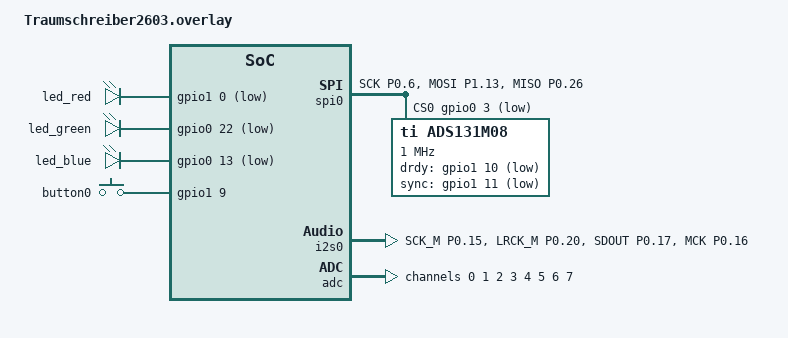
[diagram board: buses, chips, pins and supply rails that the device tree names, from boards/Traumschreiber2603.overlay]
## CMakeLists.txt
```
cmake_minimum_required(VERSION 3.20.0)

# Make custom boards discoverable (workspace-level boards/ folder)
list(APPEND BOARD_ROOT
    ${CMAKE_CURRENT_SOURCE_DIR}/..
)

# Use default overlay unless caller provides a different one
if(NOT DTC_OVERLAY_FILE)
    set(DTC_OVERLAY_FILE "${CMAKE_CURRENT_SOURCE_DIR}/boards/Traumschreiber2603.overlay")
endif()

find_package(Zephyr REQUIRED HINTS $ENV{ZEPHYR_BASE})

project(traumschreiber2603)

# Add include directories
target_include_directories(app PRIVATE 
    include 
    include/hw_abstraction
    include/drivers
    include/subsystems
    src 
    src/drivers 
    src/subsystems 
    src/hw_abstraction 
    src/ble
)

# Add source files
target_sources(app PRIVATE 
    src/main.c
    src/debug_ads131_osr.c
    src/hw_abstraction/rgb_led.c
    src/hw_abstraction/button.c
    src/subsystems/stimulator.c
    src/subsystems/data_logger.c
    src/subsystems/audio_player.c
    src/subsystems/battery_monitor.c
    src/subsystems/wav_writer.c
    src/drivers/i2s_out.c
    src/drivers/sd_card_manager.c
    src/drivers/ads131m08_ti.c
    src/drivers/nordic_adc.c
    src/ble/ble_manager.c
    src/ble/lbs_service.c
    src/ble/bas_service.c
    src/ble/ads_service.c
    src/ble/ain_service.c
    src/subsystems/system_config.c
    src/subsystems/noise_test.c
    src/subsystems/led_animation.c
    src/subsystems/charge_guard.c
    src/selftest.c
)

# Optional hardware self-test image (compares the TS2607-changed parts vs TS2603).
# Enable with:  west build ... -- -DTS_HW_SELFTEST=ON
# HW-Selbsttest-Build. Der Sysbuild-Image-Var (-DFirmware_TS_HW_SELFTEST=ON) greift
# in diesem App-CMake NICHT zuverlaessig -> zuverlaessiger Weg ist die ENV-Variable:
#   TS_HW_SELFTEST=1 west build --pristine -b Traumschreiber2603/nrf52840 -- \
#     -DBOARD_ROOT="$PWD/.." -DDTC_OVERLAY_FILE=boards/Traumschreiber2603.overlay
# Produktions-Builds (ohne die ENV-Var) enthalten den Testcode NICHT.
if(TS_HW_SELFTEST OR DEFINED ENV{TS_HW_SELFTEST})
    target_compile_definitions(app PRIVATE TS_HW_SELFTEST)
    message(STATUS "TS_HW_SELFTEST enabled: building hardware self-test firmware")
endif()
```

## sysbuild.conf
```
SB_CONFIG_BOOTLOADER_MCUBOOT=y

# Signing key (ECDSA P-256) for bootloader and app. Put your key into keys/signing_key.pem,
# see keys/README.md. This repository contains no keys.
SB_CONFIG_BOOT_SIGNATURE_TYPE_ECDSA_P256=y
SB_CONFIG_BOOT_SIGNATURE_KEY_FILE="${APPLICATION_CONFIG_DIR}/../keys/signing_key.pem"
```

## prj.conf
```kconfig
# Traumschreiber2509 Zephyr Configuration
# Professional firmware configuration for nRF52840-based biometric device

# ========================================================================
# POWER MANAGEMENT
# ========================================================================
CONFIG_PM=y
CONFIG_PM_DEVICE=y
# System OFF when USB is plugged in (charge_guard, fw 0.0.95)
CONFIG_POWEROFF=y

# ========================================================================
# BLUETOOTH & BLE SUPPORT 
# ========================================================================
CONFIG_BT=y
CONFIG_BT_PERIPHERAL=y
CONFIG_BT_CENTRAL=n
CONFIG_BT_DEVICE_NAME="Traumschreiber"
CONFIG_BT_DEVICE_APPEARANCE=0
CONFIG_BT_MAX_CONN=1
CONFIG_BT_MAX_PAIRED=1
# CONFIG_BT_CTLR_ADVANCED_FEATURES=y
# CONFIG_BT_CTLR_CONN_RSSI=y
# CONFIG_BT_CTLR_TX_PWR_DYNAMIC_CONTROL=y
# CONFIG_BT_CTLR_LE_POWER_CONTROL=y
# TX power: fixed at +4 dBm at build time, not user-settable (no config.txt key).
CONFIG_BT_CTLR_TX_PWR_PLUS_4=y
# CONFIG_BT_CTLR_TX_PWR_MINUS_8=y  # minimum power — far too weak with head/pillow

# GATT Services - act as server only; keep GATT enabled for server
# Note: CONFIG_BT_GATT is not a Kconfig symbol in this Zephyr/NCS version; avoid setting it directly.
CONFIG_BT_GATT_SERVICE_CHANGED=y
# Server only (do not enable GATT client in this build)
# CONFIG_BT_GATT_CLIENT is intentionally not set

# ========================================================================
# HIGH-SPEED BLE STREAMING (based on Nordic Throughput sample)
# For 250-500 Hz ADS131M08 data streaming
# ========================================================================

# MTU & Buffer Configuration (Increased for high-rate streaming)
CONFIG_BT_L2CAP_TX_MTU=498
CONFIG_BT_BUF_ACL_RX_SIZE=502
CONFIG_BT_BUF_ACL_TX_SIZE=252
# Buffer pool sizes raised 12 → 20: at 250Hz × 10 samples/notif we produce
# ~25 notifs/sec. With the previous 12-deep pool, the work handler filled it
# in 4 invocations (each capped at 3 notifs) and the LL drained at ~100
# notifs/s (50ms CI), causing repeated -ENOMEM bursts that dropped 20-40
# samples/sec. Larger pool absorbs the bursts; live BLE air rate is unchanged,
# just more host-side headroom. RAM-bound at ~94% so 20 (not 24) is what fits.
CONFIG_BT_BUF_ACL_TX_COUNT=20
CONFIG_BT_CONN_TX_MAX=20

# ATT Configuration (More buffers for notification pipelining)
CONFIG_BT_ATT_PREPARE_COUNT=2
CONFIG_BT_ATT_TX_COUNT=20

# Controller Configuration (Data Length Extension and 2M PHY)
CONFIG_BT_CTLR_DATA_LENGTH_MAX=251
CONFIG_BT_CTLR_PHY_2M=y
CONFIG_BT_CTLR_SDC_MAX_CONN_EVENT_LEN_DEFAULT=4000000

# BLE Features (Enable DLE and PHY update procedures)
CONFIG_BT_DATA_LEN_UPDATE=y
CONFIG_BT_USER_DATA_LEN_UPDATE=y
CONFIG_BT_PHY_UPDATE=y
CONFIG_BT_USER_PHY_UPDATE=y
CONFIG_BT_GAP_AUTO_UPDATE_CONN_PARAMS=n

# Event & Buffer counts (Must be greater than ACL TX count)
CONFIG_BT_BUF_EVT_RX_COUNT=24

# L2CAP Configuration - disable dynamic channels to save RAM (not needed for notify/write)
CONFIG_BT_L2CAP_DYNAMIC_CHANNEL=n

# ========================================================================
# ANALOG-TO-DIGITAL CONVERTER (SAADC)
# ========================================================================
CONFIG_ADC=y
CONFIG_NRFX_SAADC=y

# ========================================================================
# SPI SUPPORT (ADS131M08 + microSD)
# ========================================================================
CONFIG_SPI=y

# ========================================================================
# I2S SUPPORT (MAX98357A Audio Amplifier)
# ========================================================================
CONFIG_I2S=y
CONFIG_I2S_NRFX=y

# ========================================================================
# FILE SYSTEM & microSD SUPPORT 
# ========================================================================
CONFIG_DISK_ACCESS=y
CONFIG_FILE_SYSTEM=y
CONFIG_FAT_FILESYSTEM_ELM=y

CONFIG_DISK_DRIVER_SDMMC=y
# CONFIG_EXT2_DISK_STARTING_SECTOR=2082

# Enable f_expand() for EDF file pre-allocation (eliminates cluster-allocation FAT writes during recording)
CONFIG_FS_FATFS_EXTRA_NATIVE_API=y

# Max concurrently-open files. Pinned (was the implicit Zephyr default of 4) so
# the budget is explicit: the recording writer now keeps TWO files open (the
# BDF + its AD####.SNX sample-number index), the backfill reader opens one at a
# time (the .SNX to bisect, then the BDF), plus the occasional transient
# sd_health/CSV write — worst case exactly 4. A future NCS default change must
# not silently drop this below 4 or the critical BDF open could fail in the
# field. RAM is ~maxed (each FIL slab slot is ~0.5 KB), so do NOT raise to 5.
CONFIG_FS_FATFS_NUM_FILES=4

# Long filenames (LFN) — needed since fw 0.0.64: on the app's wall-time sync
# (control 0x40) the active recording is renamed to carry date+time, e.g.
# ADC/AD0007_20260703_2214.BDF. STACK mode keeps the (MAX_LFN+1)*2-byte LFN
# working buffer on the calling thread's stack (~98 B at MAX_LFN=48) — zero
# static RAM (BSS mode would cost ~100 B of the ~190 B that are left).
# MAX_LFN=48 also sizes fs_dirent name buffers (MAX_FILE_NAME follows it),
# bounding the extra readdir stack cost to +36 B per dirent.
CONFIG_FS_FATFS_LFN=y
CONFIG_FS_FATFS_LFN_MODE_STACK=y
CONFIG_FS_FATFS_MAX_LFN=48

# ========================================================================
# GPIO & PWM SUPPORT (RGB LED, Button)
# ========================================================================
CONFIG_GPIO=y
CONFIG_PWM=y

# ========================================================================
# THREADING & WORKQUEUES
# ========================================================================
CONFIG_MAIN_THREAD_PRIORITY=7
CONFIG_SYSTEM_WORKQUEUE_STACK_SIZE=1536

# Thread priorities for data acquisition
CONFIG_NUM_PREEMPT_PRIORITIES=16

# ========================================================================
# MEMORY MANAGEMENT
# ========================================================================
#CONFIG_HEAP_MEM_POOL_SIZE=8192
# Reduce heap to save RAM; adjust if runtime allocation fails
CONFIG_HEAP_MEM_POOL_SIZE=4096
CONFIG_MAIN_STACK_SIZE=3072

# ========================================================================
# LOGGING & DEBUGGING
# ========================================================================
CONFIG_LOG=y
CONFIG_LOG_DEFAULT_LEVEL=3
CONFIG_LOG_BACKEND_RTT=y
CONFIG_USE_SEGGER_RTT=y
CONFIG_RTT_CONSOLE=y
CONFIG_UART_CONSOLE=n
CONFIG_LOG_MODE_DEFERRED=y
CONFIG_LOG_PROCESS_THREAD_STACK_SIZE=1536
CONFIG_LOG_BUFFER_SIZE=1536
CONFIG_THREAD_NAME=n
CONFIG_THREAD_STACK_INFO=n
CONFIG_INIT_STACKS=n

# Stack overflow detection
CONFIG_MPU_STACK_GUARD=y

# RTT configuration - uses J-Link for output
CONFIG_CONSOLE=y
CONFIG_PRINTK=y
CONFIG_SERIAL=n
CONFIG_SEGGER_RTT_BUFFER_SIZE_UP=4096

# Reduce BLE debug verbosity
CONFIG_BT_LOG_LEVEL_DBG=n

# ========================================================================
# SETTINGS (for BLE bonding, configuration persistence)
# ========================================================================
# Temporarily disable NVS settings for simple LED demo
# CONFIG_SETTINGS=y
# CONFIG_SETTINGS_NVS=y
# CONFIG_NVS=y
# CONFIG_FLASH=y
# CONFIG_FLASH_PAGE_LAYOUT=y
# CONFIG_FLASH_MAP=y
# CONFIG_MPU_ALLOW_FLASH_WRITE=y

# ========================================================================
# NETWORKING STACK (minimal for BLE)
# ========================================================================
CONFIG_NETWORKING=n

# ========================================================================
# SHELL SUPPORT (for debugging & testing) - Disabled to avoid RTT conflicts
# ========================================================================
CONFIG_SHELL=n
CONFIG_SHELL_BACKEND_RTT=n
CONFIG_SHELL_BACKEND_SERIAL=n

# Device shell commands - disabled
CONFIG_DEVICE_SHELL=n
CONFIG_KERNEL_SHELL=n

# ========================================================================
# TIMING & CLOCK MANAGEMENT
# ========================================================================
CONFIG_SYS_CLOCK_TICKS_PER_SEC=1000

# Use the external 32.768 kHz crystal (LFXO) on E73 module for better accuracy & lower power
# NOTE: LFXO does not start on this E73-2G4M08S1C module (crystal likely not populated)
CONFIG_CLOCK_CONTROL_NRF_K32SRC_RC=y

# ========================================================================
# PRINTF & STRING FORMATTING
# ========================================================================
CONFIG_CBPRINTF_FP_SUPPORT=y
CONFIG_NEWLIB_LIBC=y
CONFIG_NEWLIB_LIBC_FLOAT_PRINTF=y

# ========================================================================
# SECURITY & CRYPTO
# ========================================================================
CONFIG_ENTROPY_GENERATOR=y

# ========================================================================
# WATCHDOG (optional, for production reliability)
# ========================================================================
# CONFIG_WATCHDOG=y

# ========================================================================
# FOTA / MCUboot / MCUmgr (BLE SMP)
# ========================================================================
CONFIG_BOOTLOADER_MCUBOOT=y

# Image management
CONFIG_IMG_MANAGER=y
CONFIG_MCUMGR=y
CONFIG_MCUMGR_GRP_IMG=y
CONFIG_MCUMGR_GRP_OS=y

# BLE transport for mcumgr SMP
CONFIG_MCUMGR_TRANSPORT_BT=y

# Flash mapping needed by image manager
CONFIG_FLASH=y
CONFIG_FLASH_MAP=y
CONFIG_FLASH_PAGE_LAYOUT=y
CONFIG_STREAM_FLASH=y

# CBOR codec used by mcumgr
CONFIG_ZCBOR=y

# Keep update path reliable with larger workqueue stack
CONFIG_SYSTEM_WORKQUEUE_STACK_SIZE=3072
```

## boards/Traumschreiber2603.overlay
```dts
/*
 * Traumschreiber2603 Device Tree Overlay
 * nRF52840-based biometric data acquisition hardware mapping for:
 * - ADS131M08 8-channel ADC (SPI)
 * - microSD card storage (SPI)
 * - MAX98357A I2S audio amplifier
 * - RGB LED (PWM)
 * - Button input
 * - SAADC for analog sensors (battery, microphone, light)
 */

#include <zephyr/dt-bindings/regulator/nrf5x.h>

/* Enable internal DC/DC converter (REG1: 3.3V → 1.3V core) for ~30-40% power savings */
&reg1 {
	regulator-initial-mode = <NRF5X_REG_MODE_DCDC>;
};

/* SPI1 is used by SD card in base DTS - do NOT disable */
&i2c1 {status = "disabled"; };

/* Enable SPI0 for ADS131M08 ADC with custom pin configuration */
&spi0 {
    compatible = "nordic,nrf-spim";
    status = "okay";
    pinctrl-0 = <&spi0_default>;
    pinctrl-1 = <&spi0_sleep>;
    pinctrl-names = "default", "sleep";
    cs-gpios = <&gpio0 3 GPIO_ACTIVE_LOW>;

    ads131m08: ads131m08@0 {
        compatible = "ti,ads131m08";
        #io-channel-cells = <1>;
        drdy-gpios = <&gpio1 10 GPIO_ACTIVE_LOW>;
        sync-gpios = <&gpio1 11 GPIO_ACTIVE_LOW>;
        reg = <0>;
        spi-max-frequency = <1000000>; /* 1MHz max for ADS131M08 */
        duplex = <0>;  /* Full duplex */
        frame-format = <0>; /* SPI frame format */
        label = "ADS131M08";
    };
};

/* I2S for MAX98357A audio amplifier */
&i2s0 {
    compatible = "nordic,nrf-i2s";
    status = "okay";
    pinctrl-0 = <&i2s0_default>;
    pinctrl-names = "default";
    clock-source = "PCLK32M";  /* nRF52840 only supports PCLK32M, not ACLK */
};

/* SAADC for analog inputs - All 8 channels (AI0-AI7) */
&adc {
    status = "okay";

    /* AIN0 - Analog Input 0 Brightness sensor */
    channel@0 {
        reg = <0>;
        zephyr,gain = "ADC_GAIN_1_6";
        // zephyr,reference = "ADC_REF_VDD_1_4";
        zephyr,reference = "ADC_REF_INTERNAL";
        zephyr,input-positive = <NRF_SAADC_AIN0>;
        // zephyr,input-negative = <NRF_SAADC_AIN7>;
        // zephyr,differential;
        // zephyr,vref-mv = <3000>;
        zephyr,resolution = <14>;
        zephyr,oversampling = <256>;
        zephyr,acquisition-time = <ADC_ACQ_TIME(ADC_ACQ_TIME_MICROSECONDS,40)>;
        status = "okay";
    };

    /* AIN1 - Analog Input 1 (not connected) */
    channel@1 {
        reg = <1>;
        zephyr,gain = "ADC_GAIN_1_6";
        zephyr,reference = "ADC_REF_INTERNAL";
        zephyr,acquisition-time = <ADC_ACQ_TIME_DEFAULT>;
        zephyr,input-positive = <NRF_SAADC_AIN1>;
        zephyr,resolution = <12>;
        status = "okay";
    };

    /* AIN2 - Analog Input 2 Connector Pin 9 */
    channel@2 {
        reg = <2>;
        zephyr,gain = "ADC_GAIN_1_6";
        zephyr,reference = "ADC_REF_INTERNAL";
        zephyr,acquisition-time = <ADC_ACQ_TIME_DEFAULT>;
        zephyr,input-positive = <NRF_SAADC_AIN2>;
        zephyr,resolution = <12>;
        status = "okay";
    };

    /* AIN3 - Analog Input 3 Microphone */
    channel@3 {
        reg = <3>;
        zephyr,gain = "ADC_GAIN_1_4";
        zephyr,reference = "ADC_REF_INTERNAL";
        zephyr,acquisition-time = <ADC_ACQ_TIME(ADC_ACQ_TIME_MICROSECONDS, 3)>;
        zephyr,input-positive = <NRF_SAADC_AIN3>;
        zephyr,resolution = <12>;
        status = "okay";
    };

    /* AIN4 - Analog Input 4 (Battery voltage monitoring) */
    channel@4 {
        reg = <4>;
        zephyr,gain = "ADC_GAIN_1_6";
        zephyr,reference = "ADC_REF_INTERNAL";
        zephyr,acquisition-time = <ADC_ACQ_TIME_DEFAULT>;
        zephyr,input-positive = <NRF_SAADC_AIN4>;
        zephyr,resolution = <12>;
        status = "okay";
    };

    /* AIN5 - Analog Input 5 USB Charging Detection */
    channel@5 {
        reg = <5>;
        zephyr,gain = "ADC_GAIN_1_6";
        zephyr,reference = "ADC_REF_INTERNAL";
        zephyr,acquisition-time = <ADC_ACQ_TIME_DEFAULT>;
        zephyr,input-positive = <NRF_SAADC_AIN5>;
        zephyr,resolution = <12>;
        status = "okay";
    };

    /* AIN6 - Analog Input 6 Connector Pin 8 */
    channel@6 {
        reg = <6>;
        zephyr,gain = "ADC_GAIN_1_6";
        zephyr,reference = "ADC_REF_INTERNAL";
        zephyr,acquisition-time = <ADC_ACQ_TIME_DEFAULT>;
        zephyr,input-positive = <NRF_SAADC_AIN6>;
        zephyr,resolution = <12>;
        status = "okay";
    };

    /* AIN7 - Analog Input 7 COnnector Pin 6 */
    channel@7 {
        reg = <7>;
        zephyr,gain = "ADC_GAIN_1_6";
        zephyr,reference = "ADC_REF_INTERNAL";
        zephyr,acquisition-time = <ADC_ACQ_TIME_DEFAULT>;
        zephyr,input-positive = <NRF_SAADC_AIN7>;
        zephyr,resolution = <12>;
        status = "okay";
    };
};

/* Pin control configurations */
&pinctrl {
    /* SPI0 pins for ADS131M08 - using our custom pin mapping */
    spi0_default: spi0_default {
        group1 {
            psels = <NRF_PSEL(SPIM_SCK, 0, 6)>, /* P0.06 - SCLK */
                    <NRF_PSEL(SPIM_MOSI, 1, 13)>, /* P1.13 - DIN */
                    <NRF_PSEL(SPIM_MISO, 0, 26)>; /* P0.26 - DOUT */
        };
    };

    spi0_sleep: spi0_sleep {
        group1 {
            psels = <NRF_PSEL(SPIM_SCK, 0, 6)>,
                    <NRF_PSEL(SPIM_MOSI, 1, 13)>,
                    <NRF_PSEL(SPIM_MISO, 0, 26)>;
            low-power-enable;
        };
    };

    /* I2S pins for MAX98357A */
    i2s0_default: i2s0_default {
        group1 {
            psels = <NRF_PSEL(I2S_SCK_M, 0, 15)>,
                    <NRF_PSEL(I2S_LRCK_M, 0, 20)>,
                    <NRF_PSEL(I2S_SDOUT, 0, 17)>,
                    <NRF_PSEL(I2S_MCK, 0, 16)>;
        };
    };
};

/* Override LED configurations for RGB LED on custom pins */
&led_red {
    gpios = <&gpio1 0 GPIO_ACTIVE_LOW>;  /* Red LED on P1.00 */
};

&led_green {
    gpios = <&gpio0 22 GPIO_ACTIVE_LOW>; /* Green LED on P0.22 */
};

&led_blue {
    gpios = <&gpio0 13 GPIO_ACTIVE_LOW>; /* Blue LED on P0.13 */
};

/* Button configuration: map sw0 to P1.09 (active low with pull-up) */
&button0 {
    gpios = <&gpio1 9 (GPIO_PULL_UP | GPIO_ACTIVE_HIGH)>;
};

/ {
    aliases {
        ads131m08 = &ads131m08;
    };
};

/ {
    chosen {
        zephyr,console = &uart0;
        zephyr,shell-uart = &uart0;
        zephyr,uart-mcumgr = &uart0;
        zephyr,bt-mon-uart = &uart0;
        zephyr,bt-c2h-uart = &uart0;
    };
};
```

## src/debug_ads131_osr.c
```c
/**
 * @file debug_ads131_osr.c
 * @brief Simple debugging code for ADS131M08 OSR register write testing
 *
 * This file contains a minimal debug function to test register writing on ADS131M08.
 * Specifically tests changing the OSR (Oversampling Ratio) to 2048.
 *
 * Sequence:
 * 1. Wait 7 seconds after startup
 * 2. Read all ADS131M08 registers and print to RTT
 * 3. Wait 1 second
 * 4. Write OSR=2048 to CLOCK register
 * 5. Wait 1 second
 * 6. Read all registers again and print to RTT
 *
 * Expected result: Sample rate should drop by half (from ~1000Hz to ~500Hz)
 * This can be verified by:
 * - RTT output showing CLOCK register change
 * - SD card data showing reduced sample rate
 *
 * @author ISDT
 * @date 2025
 */

#include <zephyr/kernel.h>
#include <zephyr/logging/log.h>
#include "drivers/ads131m08_ti.h"

LOG_MODULE_REGISTER(debug_ads131_osr, LOG_LEVEL_INF);

/* ADS131M08 register addresses (from TI reference) */
#define ADS131M08_REG_ID 0x00
#define ADS131M08_REG_STATUS 0x01
#define ADS131M08_REG_MODE 0x02
#define ADS131M08_REG_CLOCK 0x03
#define ADS131M08_REG_GAIN1 0x04
#define ADS131M08_REG_GAIN2 0x05
#define ADS131M08_REG_CFG 0x06
#define ADS131M08_REG_THRSHLD_MSB 0x07
#define ADS131M08_REG_THRSHLD_LSB 0x08

/* OSR=4096 value for CLOCK register (from ads131m0x.h) */
/* CLOCK_OSR_4096 = ((uint16_t) 0x0005 << 2) = 0x0014 */
#define ADS131M08_CLOCK_OSR_4096_BITS 0x0014

/* OSR=1024 value for CLOCK register (from ads131m0x.h) */
/* CLOCK_OSR_1024 = ((uint16_t) 0x0003 << 2) = 0x000C */
#define ADS131M08_CLOCK_OSR_1024_BITS 0x000C

/* Number of registers to read */
#define NUM_REGISTERS_TO_READ 9

/**
 * @brief Read and print all important ADS131M08 registers
 *
 * Reads registers 0x00-0x08 and prints them in both hex and binary format
 *
 * NOTE: Uses the same approach as the working code in ads131m08_ti.c
 */
static void read_and_print_all_registers(const char *label)
{
    uint16_t reg_value;
    ads131m08_status_t status;

    LOG_INF("=== %s ===", label);

    for (uint8_t addr = 0; addr < NUM_REGISTERS_TO_READ; addr++)
    {
        /* Read register using 24-bit word length (matching working code) */
        status = ads131m08_ti_read_register(addr, &reg_value, 24);

        if (status == ADS131M08_OK)
        {
            /* Print in binary format with spaces every 4 bits for readability */
            char bin_str[20]; // 16 bits + 3 spaces + null terminator
            int idx = 0;

            for (int bit = 15; bit >= 0; bit--)
            {
                bin_str[idx++] = ((reg_value >> bit) & 1) ? '1' : '0';
                if (bit % 4 == 0 && bit != 0)
                {
                    bin_str[idx++] = ' ';
                }
            }
            bin_str[idx] = '\0';

            LOG_INF("Register 0x%02X: 0x%04X = 0b%s", addr, reg_value, bin_str);

            /* Special parsing for CLOCK register */
            if (addr == ADS131M08_REG_CLOCK)
            {
                uint8_t osr_bits = (reg_value >> 2) & 0x07;
                uint8_t pwr_bits = reg_value & 0x03;
                uint8_t ch_en = (reg_value >> 8) & 0xFF;

                const char *osr_names[] = {
                    "128", "256", "512", "1024", "2048", "4096", "8192", "16384"};
                const char *pwr_names[] = {
                    "VLP", "LP", "HR", "HR"};

                LOG_INF("  CLOCK decoded: OSR=%s, PWR=%s, CH_EN=0x%02X",
                        osr_names[osr_bits], pwr_names[pwr_bits], ch_en);
            }
        }
        else
        {
            LOG_ERR("Failed to read register 0x%02X: %d", addr, status);
        }
    }

    LOG_INF("=== End of %s ===", label);
}

/**
 * @brief Test OSR register write by changing from default to 4096
 *
 * This is the main debugging function implementing the sequence:
 * 1. Wait 7 seconds
 * 2. Read all registers (BEFORE state)
 * 3. Wait 1 second
 * 4. Write OSR=4096 to CLOCK register
 * 5. Wait 1 second
 * 6. Read all registers (AFTER state)
 *
 * @return 0 on success, negative error code on failure
 */
int debug_ads131_osr_test(void)
{

    /* Step 1: Wait 7 seconds after startup */
    LOG_INF("Step 1: Waiting 7 seconds for system to stabilize...");
    k_sleep(K_SECONDS(7));
    LOG_INF("7 seconds elapsed - system should be stable now");

    /* Step 2: Read all registers BEFORE write */
    LOG_INF("Step 2: Reading all registers BEFORE OSR change...");
    read_and_print_all_registers("REGISTERS BEFORE OSR=4096 WRITE");

    /* Step 3: Wait 1 second */
    LOG_INF("Step 3: Waiting 1 second...");
    k_sleep(K_SECONDS(1));

    /* Step 4: Write OSR=4096 to CLOCK register */
    LOG_INF("Step 4: Writing OSR=4096 to CLOCK register...");

    /* Read current CLOCK register value */
    uint16_t current_clock;
    ads131m08_status_t status = ads131m08_ti_read_register(ADS131M08_REG_CLOCK, &current_clock, 24);
    if (status != ADS131M08_OK)
    {
        LOG_ERR("Failed to read current CLOCK register: %d", status);
        return -1;
    }

    LOG_INF("Current CLOCK register value: 0x%04X", current_clock);

    /* Modify only the OSR bits [4:2], preserve all other bits */
    uint16_t new_clock = (current_clock & ~0x001C) | ADS131M08_CLOCK_OSR_1024_BITS;
    LOG_INF("New CLOCK register value: 0x%04X (OSR bits changed to 1024)", new_clock);

    /* Write the new value */
    status = ads131m08_ti_write_register(ADS131M08_REG_CLOCK, new_clock, 24);
    if (status != ADS131M08_OK)
    {
        LOG_ERR("Failed to write CLOCK register: %d", status);
        return -1;
    }

    LOG_INF("CLOCK register write completed");

    /* Step 5: Wait 1 second for change to take effect */
    LOG_INF("Step 5: Waiting 1 second for change to take effect...");
    k_sleep(K_SECONDS(1));

    /* Step 6: Read all registers AFTER write */
    LOG_INF("Step 6: Reading all registers AFTER OSR change...");
    read_and_print_all_registers("REGISTERS AFTER OSR=1024 WRITE");

    /* Final verification */
    LOG_INF("=== Test Complete ===");
    LOG_INF("Check the register dumps above:");
    LOG_INF("- BEFORE: CLOCK register should show OSR=1024 (default)");
    LOG_INF("- AFTER: CLOCK register should show OSR=4096 (if write worked)");
    LOG_INF("");
    LOG_INF("Verification methods:");
    LOG_INF("1. RTT Output: Compare CLOCK register values above");
    LOG_INF("2. SD Card: Check if sample rate dropped to 1/4 in binary log");
    LOG_INF("   Expected: ~1000Hz -> ~250Hz (or whatever your base rate was)");

    return 0;
}
```

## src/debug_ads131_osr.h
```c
/**
 * @file debug_ads131_osr.h
 * @brief Header file for ADS131M08 OSR register write debug test
 *
 * @author ISDT
 * @date 2025
 */

#ifndef DEBUG_ADS131_OSR_H
#define DEBUG_ADS131_OSR_H

/**
 * @brief Run the OSR=2048 register write debug test
 *
 * This function implements a simple debug sequence:
 * 1. Wait 7 seconds after startup
 * 2. Read all registers and print to RTT
 * 3. Wait 1 second
 * 4. Write OSR=2048 to CLOCK register
 * 5. Wait 1 second
 * 6. Read all registers again and print to RTT
 *
 * Expected behavior: Sample rate should drop by half if write is successful
 *
 * @return 0 on success, negative error code on failure
 */
int debug_ads131_osr_test(void);

#endif /* DEBUG_ADS131_OSR_H */
```

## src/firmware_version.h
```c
#ifndef FIRMWARE_VERSION_H
#define FIRMWARE_VERSION_H

/**
 * @file firmware_version.h
 *
 * Firmware version string, taken from the VERSION file (bump PATCHLEVEL there
 * per release tag, e.g. `firmware-v0.0.45` → PATCHLEVEL = 45). At runtime the string is:
 *   - printed once on boot via LOG_INF (RTT)
 *   - written to /SD/firmware-version.txt on every boot (so an SD pull tells
 *     you which firmware produced the EDF)
 *   - exposed as a read-only BLE characteristic so the app's Connection tab
 *     can show it.
 *
 * Keep numeric (no leading 'v') and short — must fit a 24-byte BLE attribute.
 */
/* Single source since 0.0.95: the VERSION file next to CMakeLists.txt. Zephyr
 * turns it into app_version.h, and imgtool writes the same number into the
 * MCUboot image header (before 0.0.95 the header said "0.0.4" on every build).
 * The sd20App reads that header over SMP: "0.0.4" = old bootloader key
 * (needs one cable flash), anything newer = production key. */
#include <app_version.h>
#define FIRMWARE_VERSION_STR APP_VERSION_STRING

#endif /* FIRMWARE_VERSION_H */
```

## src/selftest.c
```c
/*
 * TS Hardware Self-Test — see selftest.h.
 *
 * Runs once at boot (TS_HW_SELFTEST builds only) and writes results to microSD:
 *
 *  Part 1 — Brightness sweep (12 s, TS in complete darkness):
 *      Blue LED stepped 0,1,2,3,5,10,20,25,50,100,200,255 (8-bit), 1 s each;
 *      brightness sensor (AIN0) measured per step -> /SD:/SELFTEST/BRIGHT.TXT
 *
 *  Part 2 — Speaker sweep + microphone recording:
 *      1 kHz sine, 10 loudness steps (quiet -> max, 2 s each = 20 s) while the
 *      microphone records; then 20 s more microphone (silent tail). Everything
 *      goes into ONE file -> /SD:/SELFTEST/MICTEST.WAV (16 kHz mono 16-bit).
 *
 * Flash the SAME signed image onto a TS2607 and a TS2603, pull each SD card,
 * and compare BRIGHT.TXT (R74) and MICTEST.WAV (mic preamp R14/C10 + speaker
 * GAIN_SLOT). Progress is also logged over RTT.
 *
 * Whole file compiles to nothing unless TS_HW_SELFTEST is defined.
 */
#include "selftest.h"

#ifdef TS_HW_SELFTEST

#include <zephyr/kernel.h>
#include <zephyr/logging/log.h>
#include <zephyr/drivers/adc.h>
#include <zephyr/fs/fs.h>
#include <stdint.h>
#include <stddef.h>
#include <string.h>
#include <stdio.h>

#include "drivers/nordic_adc.h"
#include "i2s_out.h"
#include "hw_abstraction/rgb_led.h"
#include "subsystems/data_logger.h"
#include "drivers/ads131m08_ti.h"
#include "drivers/sd_card_manager.h"
#include "ble/ble_manager.h"
#include "firmware_version.h"

LOG_MODULE_REGISTER(ts_selftest, LOG_LEVEL_INF);

/* ---- SD output paths (FAT 8.3 names) ---- */
#define ST_DIR        "/SD:/SELFTEST"
#define ST_BRIGHT_TXT ST_DIR "/BRIGHT.TXT"
#define ST_WAV_FINAL  ST_DIR "/MICTEST.WAV"
#define ST_WAV_TMP    ST_DIR "/MICTEST.TMP"
#define ST_MICSTAT_TXT ST_DIR "/MICSTAT.TXT"

/* ---- Part 1: brightness sweep ---- */
static const uint8_t ST_BLUE_STEPS[] = {0, 1, 2, 3, 5, 10, 20, 25, 50, 100, 200, 255};
#define ST_BLUE_N       (sizeof(ST_BLUE_STEPS) / sizeof(ST_BLUE_STEPS[0]))  /* 12 -> 12 s */
#define ST_STEP_MS      1000u
#define ST_CH_BRIGHT    0   /* AIN0 = brightness sensor */

/* ---- Part 2: speaker sweep + mic recording ---- */
#define ST_MIC_RATE       16000u
#define ST_TONE_STEPS     10u
#define ST_VOL_PER_STEP   2u    /* Lautstaerke je Stufe: 2,4,..,20 % (leise, ~20% Skala) */
#define ST_TONE_STEP_MS   2000u
#define ST_TONE_TOTAL_MS  (ST_TONE_STEPS * ST_TONE_STEP_MS)   /* 20 s */
#define ST_TAIL_MS        20000u                              /* 20 s */
#define ST_WAV_TOTAL_MS   (ST_TONE_TOTAL_MS + ST_TAIL_MS)     /* 40 s */
#define ST_TONE_HZ        1000u
/* WAV-Skalierung des DC-bereinigten Mikro-Signals: <<5 (x32) statt <<7 (x128) ->
 * Headroom, kein Clipping der lauten Ton-Stufen (0.0.77 railte bei 100% FS). */
#define ST_MIC_GAIN_SHIFT 5
/* DC-Schaetzung vor der Aufnahme in Stille einschwingen (sonst Start-Transiente). */
#define ST_DC_SETTLE_SAMPLES 512

/* Reuse main.c's already-reserved ~40 KB mic buffer as the WAV write chunk
 * (the normal recording path is idle during the self-test) — avoids adding new
 * .bss to an almost-full RAM (would overflow otherwise). */
extern int16_t g_mic_recording_buffer[];
#define ST_CHUNK_N 512

typedef struct __attribute__((packed)) {
    char riff_id[4]; uint32_t file_size; char wave_id[4];
    char fmt_id[4]; uint32_t fmt_size; uint16_t audio_format; uint16_t num_channels;
    uint32_t sample_rate; uint32_t byte_rate; uint16_t block_align; uint16_t bits_per_sample;
    char data_id[4]; uint32_t data_size;
} st_wav_header_t;

static void st_fill_wav_header(st_wav_header_t *h, uint32_t rate, uint32_t data_size)
{
    memset(h, 0, sizeof(*h));
    memcpy(h->riff_id, "RIFF", 4);
    memcpy(h->wave_id, "WAVE", 4);
    memcpy(h->fmt_id, "fmt ", 4);
    h->fmt_size = 16;
    h->audio_format = 1;
    h->num_channels = 1;
    h->sample_rate = rate;
    h->bits_per_sample = 16;
    h->byte_rate = rate * 1u * (16u / 8u);
    h->block_align = 1u * (16u / 8u);
    memcpy(h->data_id, "data", 4);
    h->data_size = data_size;
    h->file_size = 36u + data_size;
}

/* Ganzzahlige Quadratwurzel (kein libm/Float-printf noetig fuer die RMS-Stats). */
static uint32_t st_isqrt(uint64_t v)
{
    uint64_t x = v, y = (v + 1) / 2;
    while (y < x) { x = y; y = (x + v / x) / 2; }
    return (uint32_t)x;
}

static void st_ensure_dir(void)
{
    /* SELFTEST-Verzeichnis anlegen. Am Boot konkurriert der event_logger/CSV-Writer
     * um den sd_card_manager-Lock -> ein EINMALIGER 1s-Versuch kann ablaufen, dann
     * wird mkdir still uebersprungen und ALLE Datei-Opens scheitern mit -2 (ENOENT,
     * Verzeichnis fehlt). Race: mal frei (0.0.79 ok), mal belegt (0.0.80 leer).
     * Daher mehrfach mit Backoff versuchen und den Ausgang klar loggen. */
    for (int attempt = 0; attempt < 12; attempt++) {
        if (sd_card_manager_lock(2000) == 0) {
            int r = fs_mkdir(ST_DIR);
            sd_card_manager_unlock();
            if (r == 0 || r == -EEXIST) {
                LOG_INF("SELFTEST-Verzeichnis bereit: %s (mkdir=%d, Versuch %d)",
                        ST_DIR, r, attempt + 1);
                return;
            }
            LOG_WRN("mkdir %s -> %d (Versuch %d/12)", ST_DIR, r, attempt + 1);
        } else {
            LOG_WRN("sd_card_manager_lock fuer mkdir belegt (Versuch %d/12)", attempt + 1);
        }
        k_sleep(K_MSEC(300));
    }
    LOG_ERR("SELFTEST-Verzeichnis konnte NICHT angelegt werden -> Datei-Opens werden -2 liefern");
}

/* ============================ Part 1: brightness ============================ */
static void st_brightness_test(void)
{
    LOG_INF("--- PART 1: Helligkeits-Sweep (12 s, TS in KOMPLETTER DUNKELHEIT) ---");

    struct fs_file_t f;
    fs_file_t_init(&f);
    int ret = sd_card_safe_open(&f, ST_BRIGHT_TXT, FS_O_CREATE | FS_O_WRITE | FS_O_TRUNC);
    if (ret < 0) {
        LOG_ERR("Konnte %s nicht oeffnen: %d — Helligkeitswerte nur ueber RTT", ST_BRIGHT_TXT, ret);
    }

    char line[256];   /* muss den mehrzeiligen Header fassen (~150 Zeichen) */
    int n = snprintf(line, sizeof(line),
                     "# Traumschreiber Helligkeits-Sweep (fw %s)\r\n"
                     "# Blaue LED 8-bit gestuft, 1 s/Schritt, Sensor=AIN0. TS in Dunkelheit.\r\n"
                     "step\tblue_8bit\tbright_raw\tbright_mV\r\n",
                     FIRMWARE_VERSION_STR);
    if (ret >= 0 && n > 0) {
        (void)sd_card_safe_write(&f, line, (size_t)n);
    }

    for (size_t i = 0; i < ST_BLUE_N; i++) {
        uint8_t lvl = ST_BLUE_STEPS[i];
        (void)rgb_led_set_blue_raw8(lvl);

        /* Settle, then average several sensor reads near the end of the 1 s window. */
        k_sleep(K_MSEC(600));
        long acc_raw = 0, acc_mv = 0;
        int got = 0;
        for (int k = 0; k < 8; k++) {
            nordic_adc_sample_t s;
            if (nordic_adc_sample_once(&s) == NORDIC_ADC_OK) {
                acc_raw += s.channels[ST_CH_BRIGHT];
                acc_mv  += s.voltage_mv[ST_CH_BRIGHT];
                got++;
            }
            k_sleep(K_MSEC(45));
        }
        int braw = got ? (int)(acc_raw / got) : -1;
        int bmv  = got ? (int)(acc_mv / got) : -1;

        LOG_INF("  [%u/%u] blue=%u -> BRIGHT raw=%d (%d mV)",
                (unsigned)(i + 1), (unsigned)ST_BLUE_N, lvl, braw, bmv);

        if (ret >= 0) {
            n = snprintf(line, sizeof(line), "%u\t%u\t%d\t%d\r\n",
                         (unsigned)(i + 1), lvl, braw, bmv);
            if (n > 0) {
                (void)sd_card_safe_write(&f, line, (size_t)n);
            }
        }
    }

    (void)rgb_led_off();
    if (ret >= 0) {
        (void)sd_card_safe_sync(&f);
        (void)sd_card_safe_close(&f);
        LOG_INF("PART 1 fertig -> %s", ST_BRIGHT_TXT);
    }
}

/* ==================== Part 2: speaker sweep + mic to WAV ==================== */
static void st_tone_mic_test(void)
{
    LOG_INF("--- PART 2: Speaker-Sweep (10 Stufen leise->max) + Mikro-Aufnahme, dann 20 s Nachlauf ---");

    if (!nordic_adc_is_ready()) {
        LOG_ERR("ADC not ready — PART 2 uebersprungen");
        return;
    }

    const struct device *adc_dev = DEVICE_DT_GET(DT_NODELABEL(adc));

    struct fs_file_t f;
    fs_file_t_init(&f);
    int ret = sd_card_safe_open(&f, ST_WAV_TMP, FS_O_CREATE | FS_O_WRITE | FS_O_TRUNC);
    if (ret < 0) {
        LOG_ERR("Konnte %s nicht oeffnen: %d — PART 2 abgebrochen", ST_WAV_TMP, ret);
        return;
    }

    st_wav_header_t header;
    st_fill_wav_header(&header, ST_MIC_RATE, 0);
    if (sd_card_safe_write(&f, &header, sizeof(header)) != (ssize_t)sizeof(header)) {
        LOG_ERR("WAV-Header schreiben fehlgeschlagen");
        (void)sd_card_safe_close(&f);
        return;
    }
    (void)sd_card_safe_sync(&f);

    /* Per-sample ADC capture: periodisches SAADC-Sampling stoppen. */
    nordic_adc_stop_periodic_sampling();

    LOG_INF("WAV: mono, %u s (%u s Ton-Sweep + %u s Nachlauf); Samplerate wird gemessen",
            ST_WAV_TOTAL_MS / 1000u, ST_TONE_TOTAL_MS / 1000u, ST_TAIL_MS / 1000u);

    size_t chunk_idx = 0, samples_written = 0;
    int32_t dc = 0;
    bool io_error = false;
    uint32_t cur_step = 1;   /* 1..10 */
    bool tone_off = false;

    /* Rohsignal-Statistik (gain-unabhaengig), je Ton-Stufe (0..9) + Nachlauf (10).
     * Analog zu BRIGHT.TXT: macht den Mikro-Vergleich TS2607 vs TS2603 quantitativ. */
    int32_t  raw_peak = 0;
    int64_t  step_sumsq[ST_TONE_STEPS + 1] = {0};
    uint32_t step_cnt[ST_TONE_STEPS + 1]   = {0};

    int16_t raw = 0;
    struct adc_sequence mic_seq = {
        .channels = BIT(3), .buffer = &raw, .buffer_size = sizeof(raw),
        .resolution = NORDIC_ADC_RESOLUTION, .oversampling = 3, .calibrate = false,
    };

    /* DC-Schaetzung in Stille einschwingen (VOR dem Ton) -> keine Start-Transiente
     * (0.0.77 railte die ersten ~20 ms, weil dc bei 0 startete). */
    if (adc_read(adc_dev, &mic_seq) == 0) {
        dc = raw;
    }
    for (int p = 0; p < ST_DC_SETTLE_SAMPLES; p++) {
        if (adc_read(adc_dev, &mic_seq) < 0) break;
        dc += ((int32_t)raw - dc) / 128;
    }

    /* EIN Dauerton (1 kHz), Lautstaerke in 10 Stufen (set_volume, kein play_tone-
     * Neustart). Fire-and-forget ueber i2s-Thread + DMA. Die Mic-Schleife nutzt KEIN
     * busy-wait -> adc_read yieldet pro Sample, der i2s-Thread bekommt CPU (kein
     * Underrun/ERROR). Timing per Wall-Clock; echte Samplerate am Ende gemessen. */
    (void)i2s_out_set_volume(ST_VOL_PER_STEP);
    tone_config_t tone = {
        .type = TONE_SINE, .frequency_hz = ST_TONE_HZ,
        .amplitude_percent = 100, .duration_ms = 0, /* infinit bis i2s_out_stop */
    };
    (void)i2s_out_play_tone(&tone);
    LOG_INF("  Ton-Stufe 1/%u (vol %u%%)", ST_TONE_STEPS, ST_VOL_PER_STEP);

    int64_t t0 = k_uptime_get();

    for (;;) {
        int64_t now = k_uptime_get() - t0;
        if (now >= (int64_t)ST_WAV_TOTAL_MS) {
            break;
        }

        /* --- Speaker: Lautstaerke-Stufen (Wall-Clock), danach Nachlauf still --- */
        if (now < (int64_t)ST_TONE_TOTAL_MS) {
            uint32_t step = (uint32_t)(now / (int64_t)ST_TONE_STEP_MS) + 1u; /* 1..10 */
            if (step > cur_step) {
                cur_step = step;
                uint16_t vol = (uint16_t)(step * ST_VOL_PER_STEP); /* leise->max, 20% Skala */
                (void)i2s_out_set_volume(vol);
                LOG_INF("  Ton-Stufe %u/%u (vol %u%%)", step, ST_TONE_STEPS, vol);
            }
        } else if (!tone_off) {
            (void)i2s_out_stop();
            tone_off = true;
            LOG_INF("  Ton aus -> %u s Mikro-Nachlauf (Stille)", ST_TAIL_MS / 1000u);
        }

        /* --- Mikrofon (AIN3), DC-bereinigt. adc_read yieldet -> i2s-Thread laeuft. --- */
        if (adc_read(adc_dev, &mic_seq) < 0) {
            LOG_ERR("ADC read failed nach %zu Samples", samples_written + chunk_idx);
            io_error = true;
            break;
        }
        dc += ((int32_t)raw - dc) / 128;
        int32_t ac = (int32_t)raw - dc;   /* AC-Anteil in Rohcounts (gain-unabhaengig) */

        /* Rohstatistik je Bucket (0..9 = Ton-Stufen, 10 = Nachlauf). */
        int32_t a = ac < 0 ? -ac : ac;
        if (a > raw_peak) raw_peak = a;
        uint32_t b = tone_off ? ST_TONE_STEPS : (cur_step - 1u);
        if (b <= ST_TONE_STEPS) { step_sumsq[b] += (int64_t)ac * ac; step_cnt[b]++; }

        int32_t pcm = ac << ST_MIC_GAIN_SHIFT;
        if (pcm > 32767) pcm = 32767;
        if (pcm < -32768) pcm = -32768;
        g_mic_recording_buffer[chunk_idx++] = (int16_t)pcm;

        if (chunk_idx >= ST_CHUNK_N) {
            size_t bytes = chunk_idx * sizeof(int16_t);
            if (sd_card_safe_write(&f, g_mic_recording_buffer, bytes) != (ssize_t)bytes) {
                LOG_ERR("WAV-Chunk schreiben fehlgeschlagen");
                io_error = true;
                break;
            }
            samples_written += chunk_idx;
            chunk_idx = 0;
        }
    }

    int64_t elapsed_ms = k_uptime_get() - t0;
    (void)i2s_out_stop();

    if (chunk_idx > 0 && !io_error) {
        size_t bytes = chunk_idx * sizeof(int16_t);
        if (sd_card_safe_write(&f, g_mic_recording_buffer, bytes) == (ssize_t)bytes) {
            samples_written += chunk_idx;
        }
    }

    /* Gemessene Samplerate (Samples / echte Dauer) -> WAV-Header. */
    uint32_t meas_rate = (elapsed_ms > 0)
        ? (uint32_t)(((uint64_t)samples_written * 1000ULL) / (uint64_t)elapsed_ms)
        : ST_MIC_RATE;
    if (meas_rate < 1000u) meas_rate = ST_MIC_RATE; /* Sicherheitsnetz */
    LOG_INF("  Mikro: %zu Samples in %lld ms -> gemessene Rate %u Hz",
            samples_written, (long long)elapsed_ms, meas_rate);

    st_fill_wav_header(&header, meas_rate, (uint32_t)(samples_written * sizeof(int16_t)));
    if (fs_seek(&f, 0, FS_SEEK_SET) == 0) {
        (void)sd_card_safe_write(&f, &header, sizeof(header));
        (void)sd_card_safe_sync(&f);
    }
    (void)sd_card_safe_close(&f);

    /* Restart periodic SAADC sampling. */
    (void)nordic_adc_start_periodic_sampling();

    if (samples_written == 0 || io_error) {
        LOG_ERR("PART 2 unvollstaendig (samples=%zu, io_error=%d)", samples_written, io_error ? 1 : 0);
        return;
    }

    /* Publish: rename tmp -> final. */
    int rr = -1;
    if (sd_card_manager_lock(2000) == 0) {
        struct fs_dirent st;
        if (fs_stat(ST_WAV_FINAL, &st) == 0) {
            (void)fs_unlink(ST_WAV_FINAL);
        }
        rr = fs_rename(ST_WAV_TMP, ST_WAV_FINAL);
        sd_card_manager_unlock();
    }
    LOG_INF("PART 2 fertig -> %s (%zu Samples, rename=%d)", ST_WAV_FINAL, samples_written, rr);

    /* --- MICSTAT.TXT: rohe Mikro-Antwort je Ton-Stufe (gain-unabhaengig) ---
     * Analog zu BRIGHT.TXT der sauberste Vergleichswert TS2607 vs TS2603:
     * rms_raw steigt mit der Ton-Lautstaerke; peak_raw zeigt Uebersteuerung. */
    {
        struct fs_file_t sf;
        fs_file_t_init(&sf);
        if (sd_card_safe_open(&sf, ST_MICSTAT_TXT, FS_O_CREATE | FS_O_WRITE | FS_O_TRUNC) == 0) {
            char l[256];
            int n = snprintf(l, sizeof(l),
                "# Traumschreiber Mikro-Test (fw %s)\r\n"
                "# 1 kHz Ton, 10 Stufen (vol 2..20%%), dann %u s Nachlauf (Stille).\r\n"
                "# rms_raw/peak_raw = DC-bereinigte ADC-Counts (unabh. vom WAV-Gain).\r\n"
                "# samplerate=%u Hz, samples=%u, peak_raw=%d\r\n"
                "step\tvol_pct\trms_raw\tn\r\n",
                FIRMWARE_VERSION_STR, ST_TAIL_MS / 1000u, meas_rate,
                (unsigned)samples_written, raw_peak);
            if (n > 0) (void)sd_card_safe_write(&sf, l, (size_t)(n < (int)sizeof(l) ? n : (int)sizeof(l) - 1));
            for (uint32_t s = 0; s <= ST_TONE_STEPS; s++) {
                uint32_t rms = step_cnt[s] ? st_isqrt((uint64_t)(step_sumsq[s] / step_cnt[s])) : 0u;
                if (s < ST_TONE_STEPS) {
                    n = snprintf(l, sizeof(l), "%u\t%u\t%u\t%u\r\n",
                                 s + 1u, (s + 1u) * ST_VOL_PER_STEP, rms, step_cnt[s]);
                } else {
                    n = snprintf(l, sizeof(l), "tail\t0\t%u\t%u\r\n", rms, step_cnt[s]);
                }
                if (n > 0) (void)sd_card_safe_write(&sf, l, (size_t)(n < (int)sizeof(l) ? n : (int)sizeof(l) - 1));
                if (s < ST_TONE_STEPS) {
                    LOG_INF("  MICSTAT Stufe %u (vol %u%%): rms_raw=%u (n=%u)",
                            s + 1u, (s + 1u) * ST_VOL_PER_STEP, rms, step_cnt[s]);
                } else {
                    LOG_INF("  MICSTAT tail (Stille): rms_raw=%u (n=%u)", rms, step_cnt[s]);
                }
            }
            (void)sd_card_safe_sync(&sf);
            (void)sd_card_safe_close(&sf);
            LOG_INF("  MICSTAT -> %s (peak_raw=%d)", ST_MICSTAT_TXT, raw_peak);
        } else {
            LOG_WRN("Konnte %s nicht schreiben", ST_MICSTAT_TXT);
        }
    }
}

/* ================================ entry ================================ */
void ts_selftest_run(void)
{
    LOG_INF("############################################################");
    LOG_INF("### TS HARDWARE SELF-TEST (fw %s)", FIRMWARE_VERSION_STR);
    LOG_INF("### Ergebnisse auf microSD: %s + %s", ST_BRIGHT_TXT, ST_WAV_FINAL);
    LOG_INF("### Vergleich TS2607 vs TS2603: Helligkeit (R74), Mikro (R14/C10), Speaker (GAIN_SLOT)");
    LOG_INF("############################################################");

    /* Ruhe fuer saubere Messung + freie SD: ADS131/BLE aus. */
    data_logger_pause_ads131_logging(true);
    (void)ads131m08_ti_stop_sampling();
    /* BLE wird im Testmodus in main() gar nicht erst hochgefahren
     * (kein Advertising / kein blaues Blinken) -> hier nichts zu stoppen. */
    k_sleep(K_MSEC(300));

    st_ensure_dir();
    st_brightness_test();
    st_tone_mic_test();

    /* Fertig: dauerhaft gruen + Log; SD entnehmen und auswerten. */
    LOG_INF("############################################################");
    LOG_INF("### SELF-TEST FERTIG — SD entnehmen: %s + %s", ST_BRIGHT_TXT, ST_WAV_FINAL);
    LOG_INF("############################################################");
    while (1) {
        (void)rgb_led_set_color(&RGB_COLOR_GREEN);
        LOG_INF("Self-test done. Ergebnisse liegen auf der microSD.");
        k_sleep(K_MSEC(5000));
    }
}

#endif /* TS_HW_SELFTEST */
```

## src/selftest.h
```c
/*
 * TS Hardware Self-Test (build option TS_HW_SELFTEST).
 *
 * Purpose: compare the parts that changed between TS2603 and TS2607
 *   - microphone preamp gain (R14 100k->1M5, C10 100p->15p)
 *   - brightness sensor load (R74 2M2->10M)
 *   - speaker amp gain (GAIN_SLOT 6 dB -> 15 dB)
 * Flash the SAME signed image onto a TS2607 and a TS2603, read the RTT log,
 * and compare the reported microphone level / brightness value / speaker tone.
 */
#ifndef TS_SELFTEST_H
#define TS_SELFTEST_H

/* Runs forever (never returns). Only invoked in TS_HW_SELFTEST builds. */
void ts_selftest_run(void);

#endif /* TS_SELFTEST_H */
```
